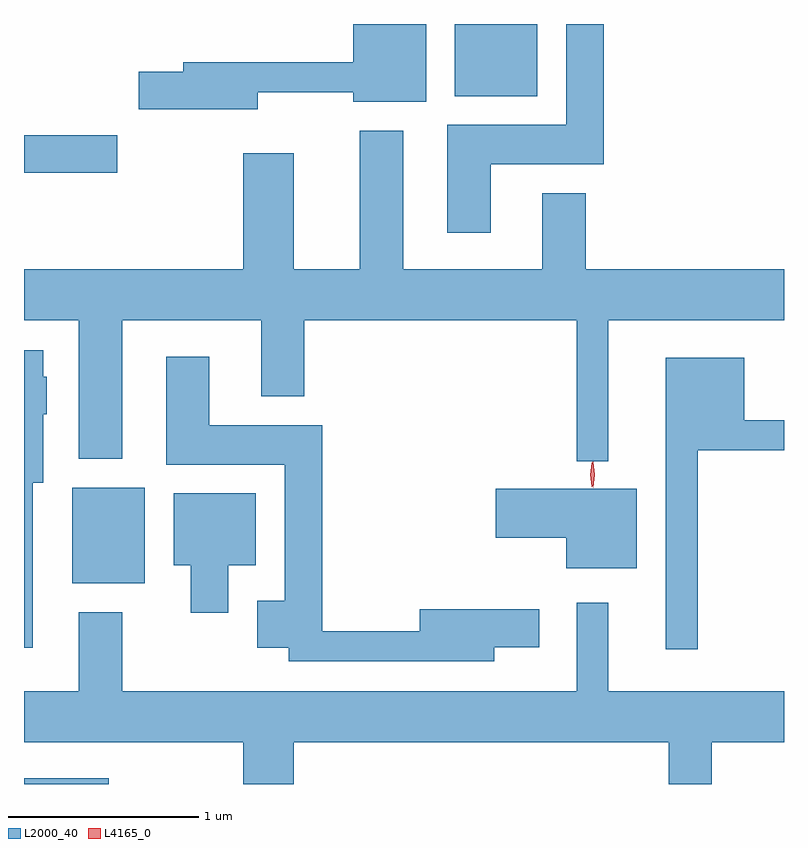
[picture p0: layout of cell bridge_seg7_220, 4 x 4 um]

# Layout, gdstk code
import gdstk
lib = gdstk.Library(unit=1e-6, precision=1e-09)
def R(c, l, rs):  # rectangles x0, y0, x1, y1
    for r in rs: c.add(gdstk.rectangle(r[:2], r[2:], *l))
def P(c, l, *ps):  # polygons
    for p in ps: c.add(gdstk.Polygon(p, *l))
L2000_40 = (2000, 40)
L4165_0 = (4165, 0)

bridge_seg7_220 = lib.new_cell('bridge_seg7_220')
R(bridge_seg7_220, L2000_40, [(1672.463,1716.315,1672.909,1716.344), (1672.716,1717.371,1673.099,1717.874), (1672.463,1719.531,1672.954,1719.729)])
P(bridge_seg7_220, L2000_40, [(1673.694,1719.956),(1674.196,1719.956),(1674.196,1719.906),(1674.579,1719.906),(1674.579,1720.315),(1674.196,1720.315),(1674.196,1720.114),(1673.301,1720.114),(1673.301,1720.064),(1673.066,1720.064),(1673.066,1719.866),(1673.694,1719.866)],
  [(1674.919,1719.576),(1675.514,1719.576),(1675.514,1720.315),(1675.316,1720.315),(1675.316,1719.784),(1674.691,1719.784),(1674.691,1719.216),(1674.919,1719.216)],
  [(1675.164,1720.314),(1674.969,1720.314),(1674.969,1720.315),(1674.771,1720.315),(1674.771,1720.314),(1674.731,1720.314),(1674.731,1719.936),(1675.164,1719.936)],
  [(1675.539,1718.756),(1676.463,1718.756),(1676.463,1719.024),(1675.419,1719.024),(1675.419,1719.424),(1675.191,1719.424),(1675.191,1719.024),(1674.459,1719.024),(1674.459,1719.754),(1674.231,1719.754),(1674.231,1719.024),(1673.884,1719.024),(1673.884,1719.634),(1673.616,1719.634),(1673.616,1719.024),(1672.463,1719.024),(1672.463,1718.756),(1672.751,1718.756),(1672.751,1718.026),(1672.979,1718.026),(1672.979,1718.756),(1673.711,1718.756),(1673.711,1718.356),(1673.939,1718.356),(1673.939,1718.756),(1675.371,1718.756),(1675.371,1718.013),(1675.539,1718.013)],
  [(1672.509,1717.901),(1672.564,1717.901),(1672.564,1718.261),(1672.584,1718.261),(1672.584,1718.459),(1672.564,1718.459),(1672.564,1718.599),(1672.463,1718.599),(1672.463,1717.031),(1672.509,1717.031)],
  [(1674.939,1717.036),(1675.174,1717.036),(1675.174,1717.234),(1674.546,1717.234),(1674.546,1717.119),(1674.034,1717.119),(1674.034,1718.204),(1673.439,1718.204),(1673.439,1718.564),(1673.211,1718.564),(1673.211,1717.996),(1673.836,1717.996),(1673.836,1717.279),(1673.691,1717.279),(1673.691,1717.031),(1673.856,1717.031),(1673.856,1716.961),(1674.939,1716.961)],
  [(1676.009,1718.071),(1676.463,1718.071),(1676.463,1718.229),(1676.254,1718.229),(1676.254,1718.559),(1675.841,1718.559),(1675.841,1717.023),(1676.009,1717.023)],
  [(1675.689,1717.869),(1674.946,1717.869),(1674.946,1717.611),(1675.316,1717.611),(1675.316,1717.451),(1675.689,1717.451)],
  [(1673.539,1717.466),(1673.684,1717.466),(1673.684,1717.844),(1673.251,1717.844),(1673.251,1717.466),(1673.341,1717.466),(1673.341,1717.216),(1673.539,1717.216)],
  [(1673.884,1716.536),(1675.856,1716.536),(1675.856,1716.315),(1676.084,1716.315),(1676.084,1716.536),(1676.463,1716.536),(1676.463,1716.804),(1675.539,1716.804),(1675.539,1717.268),(1675.371,1717.268),(1675.371,1716.804),(1672.979,1716.804),(1672.979,1717.219),(1672.751,1717.219),(1672.751,1716.804),(1672.463,1716.804),(1672.463,1716.536),(1673.616,1716.536),(1673.616,1716.315),(1673.884,1716.315)])
P(bridge_seg7_220, L4165_0, [(1675.458,1717.874),(1675.458,1717.874),(1675.448,1717.942),(1675.457,1718.01),(1675.458,1718.01),(1675.458,1718.01),(1675.468,1717.942),(1675.459,1717.874)],
  [(1675.452,1717.88),(1675.452,1717.88),(1675.442,1717.943),(1675.452,1718.006),(1675.452,1718.007),(1675.453,1718.006),(1675.462,1717.943),(1675.453,1717.88)])

lib.write_gds('bridge_seg7_220.gds')
